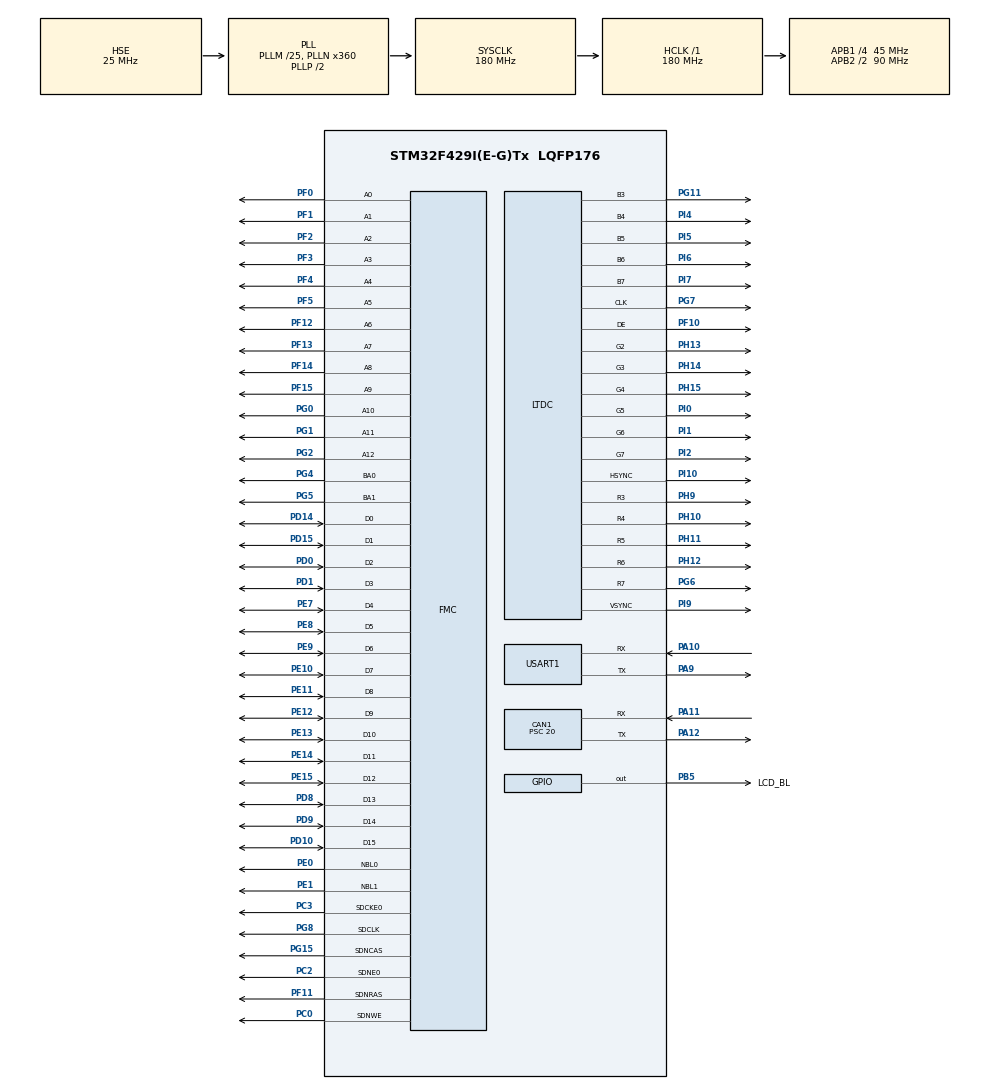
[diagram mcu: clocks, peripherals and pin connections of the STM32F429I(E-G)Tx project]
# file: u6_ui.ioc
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ADC1.Channel-3\#ChannelRegularConversion=ADC_CHANNEL_TEMPSENSOR
ADC1.ContinuousConvMode=ENABLE
ADC1.NbrOfConversionFlag=1
ADC1.Rank-3\#ChannelRegularConversion=1
ADC1.SamplingTime-3\#ChannelRegularConversion=ADC_SAMPLETIME_144CYCLES
ADC1.master=1
CAN1.BS1=CAN_BS1_4TQ
CAN1.BS2=CAN_BS2_4TQ
CAN1.CalculateBaudRate=250000
CAN1.CalculateTimeBit=4000
CAN1.CalculateTimeQuantum=444.44444444444446
CAN1.Prescaler=20
CAN1.TXFP=ENABLE
DMA2D.ColorMode=DMA2D_OUTPUT_RGB565
Dma.ADC1.0.Direction=DMA_PERIPH_TO_MEMORY
Dma.ADC1.0.FIFOMode=DMA_FIFOMODE_DISABLE
Dma.ADC1.0.Instance=DMA2_Stream0
Dma.ADC1.0.MemDataAlignment=DMA_MDATAALIGN_WORD
Dma.ADC1.0.MemInc=DMA_MINC_ENABLE
Dma.ADC1.0.Mode=DMA_NORMAL
Dma.ADC1.0.PeriphDataAlignment=DMA_PDATAALIGN_WORD
Dma.ADC1.0.PeriphInc=DMA_PINC_DISABLE
Dma.ADC1.0.Priority=DMA_PRIORITY_LOW
Dma.Request0=ADC1
FMC.CASLatency1=FMC_SDRAM_CAS_LATENCY_3
FMC.ColumnBitsNumber1=FMC_SDRAM_COLUMN_BITS_NUM_9
FMC.ExitSelfRefreshDelay1=8
FMC.LoadToActiveDelay1=2
FMC.RCDDelay1=2
FMC.RPDelay1=2
FMC.RPDelay2=2
FMC.ReadBurst1=FMC_SDRAM_RBURST_ENABLE
FMC.ReadBurst2=FMC_SDRAM_RBURST_ENABLE
FMC.ReadPipeDelay1=FMC_SDRAM_RPIPE_DELAY_1
FMC.ReadPipeDelay2=FMC_SDRAM_RPIPE_DELAY_1
FMC.RowCycleDelay1=6
FMC.RowCycleDelay2=6
FMC.SDClockPeriod1=FMC_SDRAM_CLOCK_PERIOD_2
FMC.SDClockPeriod2=FMC_SDRAM_CLOCK_PERIOD_2
FMC.SelfRefreshTime1=6
FMC.WriteRecoveryTime1=4
FREERTOS.BinarySemaphores01=CanBinarySem,Static,CanBinarySemControlBlock
FREERTOS.Events01=CAN_DatEvent,Dynamic,NULL;Can_TxEvent,Dynamic,NULL
FREERTOS.Tasks01=touchGFX,24,2048,TouchGFX_Task,As weak,NULL,Dynamic,NULL,NULL;Can_Rx_Task,24,256,Can_Rx_Handle,Default,NULL,Static,Can_Rx_TaskBuffer,Can_Rx_TaskControlBlock;Atemperature,8,256,temAdc_Handle,Default,NULL,Dynamic,NULL,NULL;IWDG_Task,40,128,IWDG_Handle,Default,NULL,Dynamic,NULL,NULL;Speed_Task,10,128,Speed_Handle,Default,NULL,Dynamic,NULL,NULL;Wit_task,11,128,Wit_DatHandle,Default,NULL,Dynamic,NULL,NULL;ADC1_Task,13,128,ADC1_Handle,Default,NULL,Dynamic,NULL,NULL;ADC2_Task,9,128,ADC2_Handle,Default,NULL,Dynamic,NULL,NULL;RTC_Task,8,128,RTC_Handle,Default,NULL,Dynamic,NULL,NULL;DTU_Task,8,128,Dtu_datHandle,Default,NULL,Dynamic,NULL,NULL;Cantx_Task,8,128,CanTX_Handle,Default,NULL,Dynamic,NULL,NULL;TyrespTask,12,128,Tyresp_Handle,Default,NULL,Dynamic,NULL,NULL;BspInitTask,40,128,BspInit_Handle,Default,NULL,Dynamic,NULL,NULL
FREERTOS.configTOTAL_HEAP_SIZE=32768
IWDG.Prescaler=IWDG_PRESCALER_32
IWDG.Reload=4000
LTDC.ActiveH=600
LTDC.ActiveW=1024
LTDC.Alpha_L0=255
LTDC.FBStartAdress_L0=0xc0000000
LTDC.HBP=140
LTDC.HFP=160
LTDC.HSync=20
LTDC.ImageHeight_L0=600
LTDC.ImageWidth_L0=1024
LTDC.Layers=0
LTDC.PixelFormat_L0=LTDC_PIXEL_FORMAT_RGB565
LTDC.VBP=20
LTDC.VFP=12
LTDC.VSync=3
LTDC.WindowX1_L0=1024
LTDC.WindowY1_L0=600
Mcu.Family=STM32F4
Mcu.Name=STM32F429I(E-G)Tx
Mcu.Package=LQFP176
NVIC.CAN1_RX0_IRQn=true\:5\:0\:false\:false\:true\:true\:true\:true\:true
NVIC.CAN1_TX_IRQn=true\:5\:0\:true\:false\:true\:true\:true\:true\:true
NVIC.DMA2D_IRQn=true\:9\:0\:true\:false\:true\:true\:true\:true\:true
NVIC.DMA2_Stream0_IRQn=true\:5\:0\:false\:false\:true\:true\:false\:true\:true
NVIC.LTDC_IRQn=true\:9\:0\:true\:false\:true\:true\:true\:true\:true
NVIC.PriorityGroup=NVIC_PRIORITYGROUP_4
NVIC.TIM7_IRQn=true\:15\:0\:false\:false\:true\:false\:false\:true\:true
NVIC.TimeBase=TIM7_IRQn
NVIC.TimeBaseIP=TIM7
PA10.Mode=Asynchronous
PA10.Signal=USART1_RX
PA11.Mode=CAN_Activate
PA11.Signal=CAN1_RX
PA12.Mode=CAN_Activate
PA12.Signal=CAN1_TX
PA13.Mode=Serial_Wire
PA13.Signal=SYS_JTMS-SWDIO
PA14.Mode=Serial_Wire
PA14.Signal=SYS_JTCK-SWCLK
PA9.Mode=Asynchronous
PA9.Signal=USART1_TX
PB5.GPIO_Label=LCD_BL
PB5.GPIO_Speed=GPIO_SPEED_FREQ_HIGH
PB5.Signal=GPIO_Output
PC0.Signal=FMC_SDNWE
PC14/OSC32_IN.Mode=LSE-External-Oscillator
PC14/OSC32_IN.Signal=RCC_OSC32_IN
PC15/OSC32_OUT.Mode=LSE-External-Oscillator
PC15/OSC32_OUT.Signal=RCC_OSC32_OUT
PC2.Mode=SdramChipSelect1_1
PC2.Signal=FMC_SDNE0
PC3.Mode=SdramChipSelect1_1
PC3.Signal=FMC_SDCKE0
PD0.Signal=FMC_D2_DA2
PD1.Signal=FMC_D3_DA3
PD10.Signal=FMC_D15_DA15
PD14.Signal=FMC_D0_DA0
PD15.Signal=FMC_D1_DA1
PD8.Signal=FMC_D13_DA13
PD9.Signal=FMC_D14_DA14
PE0.Signal=FMC_NBL0
PE1.Signal=FMC_NBL1
PE10.Signal=FMC_D7_DA7
PE11.Signal=FMC_D8_DA8
PE12.Signal=FMC_D9_DA9
PE13.Signal=FMC_D10_DA10
PE14.Signal=FMC_D11_DA11
PE15.Signal=FMC_D12_DA12
PE7.Signal=FMC_D4_DA4
PE8.Signal=FMC_D5_DA5
PE9.Signal=FMC_D6_DA6
PF0.Signal=FMC_A0
PF1.Signal=FMC_A1
PF10.GPIO_Speed=GPIO_SPEED_FREQ_VERY_HIGH
PF10.Mode=RGB565
PF10.Signal=LTDC_DE
PF11.Signal=FMC_SDNRAS
PF12.Signal=FMC_A6
PF13.Signal=FMC_A7
PF14.Signal=FMC_A8
PF15.Signal=FMC_A9
PF2.Signal=FMC_A2
PF3.Signal=FMC_A3
PF4.Signal=FMC_A4
PF5.Signal=FMC_A5
PG0.Signal=FMC_A10
PG1.Signal=FMC_A11
PG11.GPIO_Speed=GPIO_SPEED_FREQ_VERY_HIGH
PG11.Mode=RGB565
PG11.Signal=LTDC_B3
PG15.Signal=FMC_SDNCAS
PG2.Signal=FMC_A12
PG4.Signal=FMC_A14_BA0
PG5.Signal=FMC_A15_BA1
PG6.GPIO_Speed=GPIO_SPEED_FREQ_VERY_HIGH
PG6.Mode=RGB565
PG6.Signal=LTDC_R7
PG7.GPIO_Speed=GPIO_SPEED_FREQ_VERY_HIGH
PG7.Mode=RGB565
PG7.Signal=LTDC_CLK
PG8.Signal=FMC_SDCLK
PH0/OSC_IN.Mode=HSE-External-Oscillator
PH0/OSC_IN.Signal=RCC_OSC_IN
PH1/OSC_OUT.Mode=HSE-External-Oscillator
PH1/OSC_OUT.Signal=RCC_OSC_OUT
PH10.GPIO_Speed=GPIO_SPEED_FREQ_VERY_HIGH
PH10.Mode=RGB565
PH10.Signal=LTDC_R4
PH11.GPIO_Speed=GPIO_SPEED_FREQ_VERY_HIGH
PH11.Mode=RGB565
PH11.Signal=LTDC_R5
PH12.GPIO_Speed=GPIO_SPEED_FREQ_VERY_HIGH
PH12.Mode=RGB565
PH12.Signal=LTDC_R6
PH13.GPIO_Speed=GPIO_SPEED_FREQ_VERY_HIGH
PH13.Mode=RGB565
PH13.Signal=LTDC_G2
PH14.GPIO_Speed=GPIO_SPEED_FREQ_VERY_HIGH
PH14.Mode=RGB565
PH14.Signal=LTDC_G3
PH15.GPIO_Speed=GPIO_SPEED_FREQ_VERY_HIGH
PH15.Mode=RGB565
PH15.Signal=LTDC_G4
PH9.GPIO_Speed=GPIO_SPEED_FREQ_VERY_HIGH
PH9.Mode=RGB565
PH9.Signal=LTDC_R3
PI0.GPIO_Speed=GPIO_SPEED_FREQ_VERY_HIGH
PI0.Mode=RGB565
PI0.Signal=LTDC_G5
PI1.GPIO_Speed=GPIO_SPEED_FREQ_VERY_HIGH
PI1.Mode=RGB565
PI1.Signal=LTDC_G6
PI10.GPIO_Speed=GPIO_SPEED_FREQ_VERY_HIGH
PI10.Mode=RGB565
PI10.Signal=LTDC_HSYNC
PI2.GPIO_Speed=GPIO_SPEED_FREQ_VERY_HIGH
PI2.Mode=RGB565
PI2.Signal=LTDC_G7
PI4.GPIO_Speed=GPIO_SPEED_FREQ_VERY_HIGH
PI4.Mode=RGB565
PI4.Signal=LTDC_B4
PI5.GPIO_Speed=GPIO_SPEED_FREQ_VERY_HIGH
PI5.Mode=RGB565
PI5.Signal=LTDC_B5
PI6.GPIO_Speed=GPIO_SPEED_FREQ_VERY_HIGH
PI6.Mode=RGB565
PI6.Signal=LTDC_B6
PI7.GPIO_Speed=GPIO_SPEED_FREQ_VERY_HIGH
PI7.Mode=RGB565
PI7.Signal=LTDC_B7
PI9.GPIO_Speed=GPIO_SPEED_FREQ_VERY_HIGH
PI9.Mode=RGB565
PI9.Signal=LTDC_VSYNC
ProjectManager.HeapSize=0x800
ProjectManager.StackSize=0x800
ProjectManager.TargetToolchain=MDK-ARM V5
RCC.48MHZClocksFreq_Value=90000000
RCC.AHBFreq_Value=180000000
RCC.APB1CLKDivider=RCC_HCLK_DIV4
RCC.APB1Freq_Value=45000000
RCC.APB1TimFreq_Value=90000000
RCC.APB2CLKDivider=RCC_HCLK_DIV2
RCC.APB2Freq_Value=90000000
RCC.APB2TimFreq_Value=180000000
RCC.CortexFreq_Value=180000000
RCC.HCLKFreq_Value=180000000
RCC.HSE_VALUE=25000000
RCC.HSI_VALUE=16000000
RCC.PLLM=25
RCC.PLLN=360
RCC.PLLSAIN=168
RCC.PLLSourceVirtual=RCC_PLLSOURCE_HSE
RCC.RCC_RTC_Clock_Source=RCC_RTCCLKSOURCE_LSE
RCC.RCC_RTC_Clock_SourceVirtual=RCC_RTCCLKSOURCE_HSE_DIV25
RCC.RCC_RTC_Clock_Source_FROM_HSE=RCC_RTCCLKSOURCE_HSE_DIV25
RCC.SYSCLKFreq_VALUE=180000000
RCC.SYSCLKSource=RCC_SYSCLKSOURCE_PLLCLK
RCC.VCOOutputFreq_Value=360000000
RTC.Alarm=RTC_ALARM_A
RTC.AlarmMaskDateWeekDay=RTC_ALARMMASK_DATEWEEKDAY
RTC.AlarmMaskHours=RTC_ALARMMASK_HOURS
RTC.AlarmMaskMinutes=RTC_ALARMMASK_MINUTES
RTC.AlarmMaskSeconds=RTC_ALARMMASK_SECONDS
RTC.AsynchPrediv=127
RTC.Hours=23
RTC.Minutes=59
RTC.Month=RTC_MONTH_APRIL
RTC.SynchPrediv=255
RTC.WeekDay=RTC_WEEKDAY_SATURDAY
RTC.Year=23
SH.FMC_A0.0=FMC_A0,13b-sda1
SH.FMC_A1.0=FMC_A1,13b-sda1
SH.FMC_A10.0=FMC_A10,13b-sda1
SH.FMC_A11.0=FMC_A11,13b-sda1
SH.FMC_A12.0=FMC_A12,13b-sda1
SH.FMC_A14_BA0.0=FMC_BA0,FourSdramBanks1
SH.FMC_A15_BA1.0=FMC_BA1,FourSdramBanks1
SH.FMC_A2.0=FMC_A2,13b-sda1
SH.FMC_A3.0=FMC_A3,13b-sda1
SH.FMC_A4.0=FMC_A4,13b-sda1
SH.FMC_A5.0=FMC_A5,13b-sda1
SH.FMC_A6.0=FMC_A6,13b-sda1
SH.FMC_A7.0=FMC_A7,13b-sda1
SH.FMC_A8.0=FMC_A8,13b-sda1
SH.FMC_A9.0=FMC_A9,13b-sda1
SH.FMC_D0_DA0.0=FMC_D0,sd-16b-d1
SH.FMC_D10_DA10.0=FMC_D10,sd-16b-d1
SH.FMC_D11_DA11.0=FMC_D11,sd-16b-d1
SH.FMC_D12_DA12.0=FMC_D12,sd-16b-d1
SH.FMC_D13_DA13.0=FMC_D13,sd-16b-d1
SH.FMC_D14_DA14.0=FMC_D14,sd-16b-d1
SH.FMC_D15_DA15.0=FMC_D15,sd-16b-d1
SH.FMC_D1_DA1.0=FMC_D1,sd-16b-d1
SH.FMC_D2_DA2.0=FMC_D2,sd-16b-d1
SH.FMC_D3_DA3.0=FMC_D3,sd-16b-d1
SH.FMC_D4_DA4.0=FMC_D4,sd-16b-d1
SH.FMC_D5_DA5.0=FMC_D5,sd-16b-d1
SH.FMC_D6_DA6.0=FMC_D6,sd-16b-d1
SH.FMC_D7_DA7.0=FMC_D7,sd-16b-d1
SH.FMC_D8_DA8.0=FMC_D8,sd-16b-d1
SH.FMC_D9_DA9.0=FMC_D9,sd-16b-d1
SH.FMC_NBL0.0=FMC_NBL0,Sd2ByteEnable1
SH.FMC_NBL1.0=FMC_NBL1,Sd2ByteEnable1
SH.FMC_SDCLK.0=FMC_SDCLK,13b-sda1
SH.FMC_SDNCAS.0=FMC_SDNCAS,13b-sda1
SH.FMC_SDNRAS.0=FMC_SDNRAS,13b-sda1
SH.FMC_SDNWE.0=FMC_SDNWE,13b-sda1
STMicroelectronics.X-CUBE-TOUCHGFX.4.22.0.ApplicationCcGraphicsJjApplication=TouchGFXOoGenerator
STMicroelectronics.X-CUBE-TOUCHGFX.4.22.0.tgfx_address1=0xc0000000
STMicroelectronics.X-CUBE-TOUCHGFX.4.22.0.tgfx_address2=0xc012c000
STMicroelectronics.X-CUBE-TOUCHGFX.4.22.0.tgfx_buffering_strategy=Double
STMicroelectronics.X-CUBE-TOUCHGFX.4.22.0.tgfx_display_interface=disp_ltdc
STMicroelectronics.X-CUBE-TOUCHGFX.4.22.0.tgfx_hardware_accelerator=dma_2d
STMicroelectronics.X-CUBE-TOUCHGFX.4.22.0.tgfx_location=By Address
STMicroelectronics.X-CUBE-TOUCHGFX.4.22.0.tgfx_vsync=vsync_ltdc
STMicroelectronics.X-CUBE-TOUCHGFX.4.22.0_IsPackSelfContextualization=true
USART1.VirtualMode=VM_ASYNC
VP_ADC1_TempSens_Input.Mode=IN-TempSens
VP_CRC_VS_CRC.Mode=CRC_Activate
VP_DMA2D_VS_DMA2D.Mode=DMA2D_Activate
VP_FREERTOS_VS_CMSIS_V2.Mode=CMSIS_V2
VP_IWDG_VS_IWDG.Mode=IWDG_Activate
VP_RTC_VS_RTC_Activate.Mode=RTC_Enabled
VP_RTC_VS_RTC_Alarm_A_Intern.Mode=Alarm A
VP_RTC_VS_RTC_Calendar.Mode=RTC_Calendar
VP_STMicroelectronics.X-CUBE-TOUCHGFX_VS_GraphicsJjApplication_4.22.0.Mode=GraphicsJjApplication
VP_SYS_VS_tim7.Mode=TIM7
board=custom

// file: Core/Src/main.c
/* USER CODE BEGIN Header */
/**
  ******************************************************************************
  * @file           : main.c
  * @brief          : Main program body
  ******************************************************************************
  * @attention
  *
  * Copyright (c) 2023 STMicroelectronics.
  * All rights reserved.
  *
  * This software is licensed under terms that can be found in the LICENSE file
  * in the root directory of this software component.
  * If no LICENSE file comes with this software, it is provided AS-IS.
  *
  ******************************************************************************
  */
/* USER CODE END Header */
#include "main.h"
#include "cmsis_os.h"
#include "adc.h"
#include "can.h"
#include "crc.h"
#include "dma.h"
#include "dma2d.h"
#include "iwdg.h"
#include "ltdc.h"
#include "rtc.h"
#include "usart.h"
#include "gpio.h"
#include "fmc.h"
#include "app_touchgfx.h"

void SystemClock_Config(void);
void MX_FREERTOS_Init(void);

int main(void)
{

  /* MCU Configuration--------------------------------------------------------*/

  /* Reset of all peripherals, Initializes the Flash interface and the Systick. */
  HAL_Init();

  /* Configure the system clock */
  SystemClock_Config();

  /* Initialize all configured peripherals */
  MX_GPIO_Init();
  MX_DMA_Init();
  MX_DMA2D_Init();
  MX_FMC_Init();
  MX_CRC_Init();
  MX_LTDC_Init();
  MX_CAN1_Init();
  MX_USART1_UART_Init();
  MX_ADC1_Init();
  MX_RTC_Init();
  MX_IWDG_Init();
  MX_TouchGFX_Init();
  /* Call PreOsInit function */
  MX_TouchGFX_PreOSInit();
  /* USER CODE BEGIN 2 */
  printf("fwt_ui\r\n");
  /* USER CODE END 2 */

  /* Init scheduler */
  osKernelInitialize();  /* Call init function for freertos objects (in freertos.c) */
  MX_FREERTOS_Init();

  /* Start scheduler */
  osKernelStart();
  /* We should never get here as control is now taken by the scheduler */
  /* Infinite loop */
  while (1)
  {

  }
}

void SystemClock_Config(void)
{
  RCC_OscInitTypeDef RCC_OscInitStruct = {0};
  RCC_ClkInitTypeDef RCC_ClkInitStruct = {0};

  /** Configure the main internal regulator output voltage
  */
  __HAL_RCC_PWR_CLK_ENABLE();
  __HAL_PWR_VOLTAGESCALING_CONFIG(PWR_REGULATOR_VOLTAGE_SCALE1);

  /** Initializes the RCC Oscillators according to the specified parameters
  * in the RCC_OscInitTypeDef structure.
  */
  RCC_OscInitStruct.OscillatorType = RCC_OSCILLATORTYPE_LSI|RCC_OSCILLATORTYPE_HSE
                              |RCC_OSCILLATORTYPE_LSE;
  RCC_OscInitStruct.HSEState = RCC_HSE_ON;
  RCC_OscInitStruct.LSEState = RCC_LSE_ON;
  RCC_OscInitStruct.LSIState = RCC_LSI_ON;
  RCC_OscInitStruct.PLL.PLLState = RCC_PLL_ON;
  RCC_OscInitStruct.PLL.PLLSource = RCC_PLLSOURCE_HSE;
  RCC_OscInitStruct.PLL.PLLM = 25;
  RCC_OscInitStruct.PLL.PLLN = 360;
  RCC_OscInitStruct.PLL.PLLP = RCC_PLLP_DIV2;
  RCC_OscInitStruct.PLL.PLLQ = 4;
  if (HAL_RCC_OscConfig(&RCC_OscInitStruct) != HAL_OK)
  {
    Error_Handler();
  }

  /** Activate the Over-Drive mode
  */
  if (HAL_PWREx_EnableOverDrive() != HAL_OK)
  {
    Error_Handler();
  }

  /** Initializes the CPU, AHB and APB buses clocks
  */
  RCC_ClkInitStruct.ClockType = RCC_CLOCKTYPE_HCLK|RCC_CLOCKTYPE_SYSCLK
                              |RCC_CLOCKTYPE_PCLK1|RCC_CLOCKTYPE_PCLK2;
  RCC_ClkInitStruct.SYSCLKSource = RCC_SYSCLKSOURCE_PLLCLK;
  RCC_ClkInitStruct.AHBCLKDivider = RCC_SYSCLK_DIV1;
  RCC_ClkInitStruct.APB1CLKDivider = RCC_HCLK_DIV4;
  RCC_ClkInitStruct.APB2CLKDivider = RCC_HCLK_DIV2;

  if (HAL_RCC_ClockConfig(&RCC_ClkInitStruct, FLASH_LATENCY_5) != HAL_OK)
  {
    Error_Handler();
  }
}

void HAL_TIM_PeriodElapsedCallback(TIM_HandleTypeDef *htim)
{
  if (htim->Instance == TIM7) {
    HAL_IncTick();
  }
}

void Error_Handler(void)
{
  __disable_irq();
  while (1)
  {
  }
}

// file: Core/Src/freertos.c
/* USER CODE BEGIN Header */
/**
  ******************************************************************************
  * File Name          : freertos.c
  * Description        : Code for freertos applications
  ******************************************************************************
  * @attention
  *
  * Copyright (c) 2023 STMicroelectronics.
  * All rights reserved.
  *
  * This software is licensed under terms that can be found in the LICENSE file
  * in the root directory of this software component.
  * If no LICENSE file comes with this software, it is provided AS-IS.
  *
  ******************************************************************************
  */
/* USER CODE END Header */

#include "FreeRTOS.h"
#include "task.h"
#include "main.h"
#include "cmsis_os.h"

/* USER CODE BEGIN Includes */
#include "usart.h"
/* USER CODE END Includes */

typedef StaticTask_t osStaticThreadDef_t;
typedef StaticSemaphore_t osStaticSemaphoreDef_t;

/* USER CODE BEGIN PD */
#define XJWY_StdId							0x01
#define GPS_StdId								0x02
#define DTU_StdId								0x04       //0x03,0x04     csq
#define CLK_StdId								0x03       //0x03,0x04     clk
#define Tyre_StdId              0x08
#define CLK_StdId2						  0x13       //0x03,0x04     clk
#define OADC_StdId              0x05
#define Wit_StdId   						0x51      //0x51,0x52,0x53   angle acc

#define XJWY_DLC								7
#define GPS_DLC									4
#define CLK_DLC									6
#define Wit_DLC									8
#define Tyre_DLC								8
#define Oadc_DLC								2

#define CAN_EVENTBIT_0	(1<<0)				//
#define CAN_EVENTBIT_1	(1<<1)				//
#define CAN_EVENTBIT_2	(1<<2)
#define CAN_EVENTBIT_3	(1<<3)
#define CAN_EVENTBIT_4	(1<<4)
#define CAN_EVENTBIT_5	(1<<5)

#define CANTX_EVENTBIT_0	(1<<0)
#define CANTX_EVENTBIT_1	(1<<1)
#define CANTX_EVENTBIT_2	(1<<2)
#define CANTX_EVENTBIT_3	(1<<3)
#define CANTX_EVENTBIT_4	(1<<4)

/* USER CODE END PD */

/* USER CODE BEGIN PM */
extern IWDG_HandleTypeDef hiwdg;
extern ADC_HandleTypeDef hadc1;
extern CAN_HandleTypeDef hcan1;
extern __IO uint8_t temADC1_Flag;
extern uint32_t adc_value[10];
extern RTC_HandleTypeDef hrtc;
CAN_RxHeaderTypeDef RxMessage;
CAN_TxHeaderTypeDef TxMessage;
uint8_t canrx_dat[8] = {0};

uint8_t CpuTpQueue_prio = 5;

typedef union
{
	float value;
	uint8_t data[4];
}speed_float;

typedef union
{
	float value;
	uint8_t data[4];
}Anglefloat;

typedef union
{
	float value;
	uint8_t data[4];
}Accfloat;

typedef struct{
	uint8_t dtu_flag;
	uint8_t xjwy_data[XJWY_DLC];
	uint8_t tyre_data[Tyre_DLC];
	uint8_t dtu_tdata[CLK_DLC];
	uint8_t dtu_cdata;
	uint8_t oadc_dat[Oadc_DLC];
	Anglefloat Ag_data[3];
	Accfloat   Acc_data[3];
	speed_float gps_data;
}can_rxdata;

uint8_t rtc_sure = 0;

can_rxdata Can_rxdata1 = {0,{0},0,{0},0,{0},{0}};
/* USER CODE END PM */

/* USER CODE BEGIN Variables */

void TpNum(uint8_t tpdat);
void GpsNum(double gpsdat);
void WitNum(float *witdat1,float *witdat2);
void CanNum(uint8_t canflag);
void ADC1_Num(uint8_t *adc1dat);
void ADC2_Num(uint8_t *adc2dat);
void RtcNum(uint8_t rtcyear,uint8_t rtcmonth,uint8_t rtcdate,uint8_t rtchour,uint8_t rtcminute);
void DTU_C_Num(uint8_t csqdat);
void Can_Send_Msg(uint32_t ucStdId, uint8_t* msg, uint32_t len);
void Tyre_Num(uint8_t *tyre_dat);
void Updattim(void);

/* USER CODE END Variables */
/* Definitions for touchGFX */
osThreadId_t touchGFXHandle;
const osThreadAttr_t touchGFX_attributes = {
  .name = "touchGFX",
  .stack_size = 2048 * 4,
  .priority = (osPriority_t) osPriorityNormal,
};
/* Definitions for Can_Rx_Task */
osThreadId_t Can_Rx_TaskHandle;
uint32_t Can_Rx_TaskBuffer[ 256 ];
osStaticThreadDef_t Can_Rx_TaskControlBlock;
const osThreadAttr_t Can_Rx_Task_attributes = {
  .name = "Can_Rx_Task",
  .cb_mem = &Can_Rx_TaskControlBlock,
  .cb_size = sizeof(Can_Rx_TaskControlBlock),
  .stack_mem = &Can_Rx_TaskBuffer[0],
  .stack_size = sizeof(Can_Rx_TaskBuffer),
  .priority = (osPriority_t) osPriorityNormal,
};
/* Definitions for Atemperature */
osThreadId_t AtemperatureHandle;
const osThreadAttr_t Atemperature_attributes = {
  .name = "Atemperature",
  .stack_size = 256 * 4,
  .priority = (osPriority_t) osPriorityLow,
};
/* Definitions for IWDG_Task */
osThreadId_t IWDG_TaskHandle;
const osThreadAttr_t IWDG_Task_attributes = {
  .name = "IWDG_Task",
  .stack_size = 128 * 4,
  .priority = (osPriority_t) osPriorityHigh,
};
/* Definitions for Speed_Task */
osThreadId_t Speed_TaskHandle;
const osThreadAttr_t Speed_Task_attributes = {
  .name = "Speed_Task",
  .stack_size = 128 * 4,
  .priority = (osPriority_t) osPriorityLow2,
};
/* Definitions for Wit_task */
osThreadId_t Wit_taskHandle;
const osThreadAttr_t Wit_task_attributes = {
  .name = "Wit_task",
  .stack_size = 128 * 4,
  .priority = (osPriority_t) osPriorityLow3,
};
/* Definitions for ADC1_Task */
osThreadId_t ADC1_TaskHandle;
const osThreadAttr_t ADC1_Task_attributes = {
  .name = "ADC1_Task",
  .stack_size = 128 * 4,
  .priority = (osPriority_t) osPriorityLow5,
};
/* Definitions for ADC2_Task */
osThreadId_t ADC2_TaskHandle;
const osThreadAttr_t ADC2_Task_attributes = {
  .name = "ADC2_Task",
  .stack_size = 128 * 4,
  .priority = (osPriority_t) osPriorityLow1,
};
/* Definitions for RTC_Task */
osThreadId_t RTC_TaskHandle;
const osThreadAttr_t RTC_Task_attributes = {
  .name = "RTC_Task",
  .stack_size = 128 * 4,
  .priority = (osPriority_t) osPriorityLow,
};
/* Definitions for DTU_Task */
osThreadId_t DTU_TaskHandle;
const osThreadAttr_t DTU_Task_attributes = {
  .name = "DTU_Task",
  .stack_size = 128 * 4,
  .priority = (osPriority_t) osPriorityLow,
};
/* Definitions for Cantx_Task */
osThreadId_t Cantx_TaskHandle;
const osThreadAttr_t Cantx_Task_attributes = {
  .name = "Cantx_Task",
  .stack_size = 128 * 4,
  .priority = (osPriority_t) osPriorityLow,
};
/* Definitions for TyrespTask */
osThreadId_t TyrespTaskHandle;
const osThreadAttr_t TyrespTask_attributes = {
  .name = "TyrespTask",
  .stack_size = 128 * 4,
  .priority = (osPriority_t) osPriorityLow4,
};
/* Definitions for BspInitTask */
osThreadId_t BspInitTaskHandle;
const osThreadAttr_t BspInitTask_attributes = {
  .name = "BspInitTask",
  .stack_size = 128 * 4,
  .priority = (osPriority_t) osPriorityHigh,
};
/* Definitions for CanBinarySem */
osSemaphoreId_t CanBinarySemHandle;
osStaticSemaphoreDef_t CanBinarySemControlBlock;
const osSemaphoreAttr_t CanBinarySem_attributes = {
  .name = "CanBinarySem",
  .cb_mem = &CanBinarySemControlBlock,
  .cb_size = sizeof(CanBinarySemControlBlock),
};
/* Definitions for CAN_DatEvent */
osEventFlagsId_t CAN_DatEventHandle;
const osEventFlagsAttr_t CAN_DatEvent_attributes = {
  .name = "CAN_DatEvent"
};
/* Definitions for Can_TxEvent */
osEventFlagsId_t Can_TxEventHandle;
const osEventFlagsAttr_t Can_TxEvent_attributes = {
  .name = "Can_TxEvent"
};

void TouchGFX_Task(void *argument);
void Can_Rx_Handle(void *argument);
void temAdc_Handle(void *argument);
void IWDG_Handle(void *argument);
void Speed_Handle(void *argument);
void Wit_DatHandle(void *argument);
void ADC1_Handle(void *argument);
void ADC2_Handle(void *argument);
void RTC_Handle(void *argument);
void Dtu_datHandle(void *argument);
void CanTX_Handle(void *argument);
void Tyresp_Handle(void *argument);
void BspInit_Handle(void *argument);

void MX_FREERTOS_Init(void); /* (MISRA C 2004 rule 8.1) */

void MX_FREERTOS_Init(void) {

  /* Create the semaphores(s) */
  /* creation of CanBinarySem */
  CanBinarySemHandle = osSemaphoreNew(1, 1, &CanBinarySem_attributes);

  /* Create the thread(s) */
  /* creation of touchGFX */
  touchGFXHandle = osThreadNew(TouchGFX_Task, NULL, &touchGFX_attributes);

  /* creation of Can_Rx_Task */
  Can_Rx_TaskHandle = osThreadNew(Can_Rx_Handle, NULL, &Can_Rx_Task_attributes);

  /* creation of Atemperature */
  AtemperatureHandle = osThreadNew(temAdc_Handle, NULL, &Atemperature_attributes);

  /* creation of IWDG_Task */
  IWDG_TaskHandle = osThreadNew(IWDG_Handle, NULL, &IWDG_Task_attributes);

  /* creation of Speed_Task */
  Speed_TaskHandle = osThreadNew(Speed_Handle, NULL, &Speed_Task_attributes);

  /* creation of Wit_task */
  Wit_taskHandle = osThreadNew(Wit_DatHandle, NULL, &Wit_task_attributes);

  /* creation of ADC1_Task */
  ADC1_TaskHandle = osThreadNew(ADC1_Handle, NULL, &ADC1_Task_attributes);

  /* creation of ADC2_Task */
  ADC2_TaskHandle = osThreadNew(ADC2_Handle, NULL, &ADC2_Task_attributes);

  /* creation of RTC_Task */
  RTC_TaskHandle = osThreadNew(RTC_Handle, NULL, &RTC_Task_attributes);

  /* creation of DTU_Task */
  DTU_TaskHandle = osThreadNew(Dtu_datHandle, NULL, &DTU_Task_attributes);

  /* creation of Cantx_Task */
  Cantx_TaskHandle = osThreadNew(CanTX_Handle, NULL, &Cantx_Task_attributes);

  /* creation of TyrespTask */
  TyrespTaskHandle = osThreadNew(Tyresp_Handle, NULL, &TyrespTask_attributes);

  /* creation of BspInitTask */
  BspInitTaskHandle = osThreadNew(BspInit_Handle, NULL, &BspInitTask_attributes);

  /* Create the event(s) */
  /* creation of CAN_DatEvent */
  CAN_DatEventHandle = osEventFlagsNew(&CAN_DatEvent_attributes);

  /* creation of Can_TxEvent */
  Can_TxEventHandle = osEventFlagsNew(&Can_TxEvent_attributes);

}

__weak void TouchGFX_Task(void *argument)
{
  /* USER CODE BEGIN TouchGFX_Task */
  /* Infinite loop */
  for(;;)
  {
    osDelay(100);
  }
  /* USER CODE END TouchGFX_Task */
}

void Can_Rx_Handle(void *argument)
{
  /* USER CODE BEGIN Can_Rx_Handle */
  /* Infinite loop */
	static uint32_t can_tick = 0;
	static uint8_t can_error = 0;
  for(;;)
  {
		osSemaphoreAcquire(CanBinarySemHandle,1600);
		if( uwTick-can_tick > 1500){
			can_error = 0;
		}else{
			can_error = 1;
		}
		CanNum(can_error);
		can_tick = uwTick;
    osDelay(1);
  }
  /* USER CODE END Can_Rx_Handle */
}

void temAdc_Handle(void *argument)
{
  /* USER CODE BEGIN temAdc_Handle */
  /* Infinite loop */
	uint8_t i = 0;
	double temadc_dat = 0;
	uint8_t temperature = 0;

  for(;;)
  {
		if(temADC1_Flag == 1)
		{
			for( i = 1; i<10 ; i++){
				adc_value[0]+=adc_value[i];
			}
			temadc_dat = (double)(adc_value[0]*3.3/40960);
//			printf("ADC : %.2f v\r\n",temadc_dat);
			temperature = (uint8_t)((temadc_dat-0.76)/0.0025)+25;
//			printf("MCU Temperature : %d\r\n",temperature);
			TpNum(temperature);
			temADC1_Flag = 0;
			HAL_ADC_Start_DMA(&hadc1,adc_value,sizeof(adc_value)/4);
		}
    osDelay(1000);
  }
  /* USER CODE END temAdc_Handle */
}

void IWDG_Handle(void *argument)
{
  /* USER CODE BEGIN IWDG_Handle */
  /* Infinite loop */
  for(;;)
  {
		__HAL_IWDG_RELOAD_COUNTER(&hiwdg);
    osDelay(100);
  }
  /* USER CODE END IWDG_Handle */
}

void Speed_Handle(void *argument)
{
  /* USER CODE BEGIN Speed_Handle */
  /* Infinite loop */
  for(;;)
  {
		if(osEventFlagsWait (CAN_DatEventHandle, CAN_EVENTBIT_1,osFlagsWaitAny, osWaitForever)&CAN_EVENTBIT_1){
			GpsNum(Can_rxdata1.gps_data.value);
		}
  }
  /* USER CODE END Speed_Handle */
}

void Wit_DatHandle(void *argument)
{
  /* USER CODE BEGIN Wit_DatHandle */
  /* Infinite loop */
  float ag_xyz[3] = {0},acc_xyz[3] = {0};
  for(;;)
  {
		if(osEventFlagsWait (CAN_DatEventHandle, CAN_EVENTBIT_3,osFlagsWaitAny, osWaitForever)&CAN_EVENTBIT_3){
			ag_xyz[0] = Can_rxdata1.Ag_data[0].value;
			ag_xyz[1] = Can_rxdata1.Ag_data[1].value;
			ag_xyz[2] = Can_rxdata1.Ag_data[2].value;
//			printf("angle:%.3f %.3f %.3f\r\n", ag_xyz[0], ag_xyz[1], ag_xyz[2]);
			acc_xyz[0] = Can_rxdata1.Acc_data[0].value;
			acc_xyz[1] = Can_rxdata1.Acc_data[1].value;
			acc_xyz[2] = Can_rxdata1.Acc_data[2].value;
//			printf("acc:%.3f %.3f %.3f\r\n", acc_xyz[0], acc_xyz[1], acc_xyz[2]);
			WitNum(ag_xyz,acc_xyz);
		}
  }
  /* USER CODE END Wit_DatHandle */
}

void ADC1_Handle(void *argument)
{
  /* USER CODE BEGIN ADC1_Handle */
  /* Infinite loop */
	uint8_t xjwydat[XJWY_DLC] = {0};
  for(;;)
  {
		if(osEventFlagsWait (CAN_DatEventHandle, CAN_EVENTBIT_0,osFlagsWaitAny, osWaitForever)&CAN_EVENTBIT_0){
			for(uint8_t i = 0;i<XJWY_DLC;i++)
			{
				xjwydat[i] = Can_rxdata1.xjwy_data[i];
			}
			ADC1_Num(xjwydat);
		}
    osDelay(10);
  }
  /* USER CODE END ADC1_Handle */
}

void ADC2_Handle(void *argument)
{
  /* USER CODE BEGIN ADC2_Handle */
  /* Infinite loop */
  for(;;)
  {
		if(osEventFlagsWait (CAN_DatEventHandle, CAN_EVENTBIT_4,osFlagsWaitAny, osWaitForever)&CAN_EVENTBIT_4){
		ADC2_Num(Can_rxdata1.oadc_dat);
		}
    osDelay(100);
  }
  /* USER CODE END ADC2_Handle */
}

void RTC_Handle(void *argument)
{
  /* USER CODE BEGIN RTC_Handle */
  /* Infinite loop */
	RTC_TimeTypeDef rtcTime;
  RTC_DateTypeDef GetData;   //获取日期结构
  for(;;)
  {
		HAL_RTC_GetTime(&hrtc,&rtcTime,RTC_FORMAT_BIN);
		HAL_RTC_GetDate(&hrtc,&GetData,RTC_FORMAT_BIN);
		RtcNum(GetData.Year,GetData.Month,GetData.Date,rtcTime.Hours,rtcTime.Minutes);
//		printf("      %02d-%02d-%02d\r\n",rtcTime.Hours,rtcTime.Minutes,rtcTime.Seconds);
    osDelay(500);
  }
  /* USER CODE END RTC_Handle */
}

void Dtu_datHandle(void *argument)
{
  /* USER CODE BEGIN Dtu_datHandle */
  /* Infinite loop */
	RTC_TimeTypeDef SetTime;
	RTC_DateTypeDef SetData;
  for(;;)
  {
		if(osEventFlagsWait (CAN_DatEventHandle, CAN_EVENTBIT_2,osFlagsWaitAny, osWaitForever)&CAN_EVENTBIT_2){
			if(Can_rxdata1.dtu_flag == 1){
				Can_rxdata1.dtu_flag = 2;
				SetData.Year = Can_rxdata1.dtu_tdata[0];
				SetData.Month = Can_rxdata1.dtu_tdata[1];
				SetData.Date = Can_rxdata1.dtu_tdata[2];
				SetTime.Hours = Can_rxdata1.dtu_tdata[3];
				SetTime.Minutes = Can_rxdata1.dtu_tdata[4];
				SetTime.Seconds = Can_rxdata1.dtu_tdata[5];
				HAL_RTC_SetDate(&hrtc,&SetData,RTC_FORMAT_BIN);
				HAL_RTC_SetTime(&hrtc,&SetTime,RTC_FORMAT_BIN);
				HAL_RTC_DST_Add1Hour(&hrtc);
				rtc_sure = 1;
				osEventFlagsSet(Can_TxEventHandle,CANTX_EVENTBIT_0);
				Updattim();
			}else if(Can_rxdata1.dtu_flag == 2){
				DTU_C_Num(Can_rxdata1.dtu_cdata);
			}
		}
  }
  /* USER CODE END Dtu_datHandle */
}

void CanTX_Handle(void *argument)
{
  /* USER CODE BEGIN CanTX_Handle */
  /* Infinite loop */

	uint32_t can_tx_mailbox;
	TxMessage.ExtId=0;
	TxMessage.IDE=CAN_ID_STD;
	TxMessage.RTR=CAN_RTR_DATA;
	TxMessage.TransmitGlobalTime=DISABLE;
	uint8_t canovertime = 0;
  for(;;)
  {
		if(osEventFlagsWait (Can_TxEventHandle,CANTX_EVENTBIT_0,osFlagsWaitAny, NULL)&CANTX_EVENTBIT_0){
			canovertime = 0;
			TxMessage.StdId=CLK_StdId2;
			TxMessage.DLC=sizeof(rtc_sure);
			while(HAL_CAN_GetTxMailboxesFreeLevel(&hcan1) < 1){
				if(canovertime++ >= 5){
					break;
				}
				else{
					osDelay(1);
				}
			}
			if(HAL_CAN_AddTxMessage(&hcan1,&TxMessage,&rtc_sure,&can_tx_mailbox) != HAL_OK)
			{
				printf ("数据发送失败！\r\n");
			}
			osDelay(1);
		}
		osDelay(1);
  }
  /* USER CODE END CanTX_Handle */
}

void Tyresp_Handle(void *argument)
{
  /* USER CODE BEGIN Tyresp_Handle */
  /* Infinite loop */
	uint8_t tyre_dat[8] = {0};
  for(;;)
  {
		if(osEventFlagsWait (CAN_DatEventHandle, CAN_EVENTBIT_5,osFlagsWaitAny, osWaitForever)&CAN_EVENTBIT_5){
			for(uint8_t i = 0;i<Tyre_DLC;i++)
			{
				tyre_dat[i] = Can_rxdata1.tyre_data[i];
			}
			Tyre_Num(tyre_dat);
		}
    osDelay(10);
  }
  /* USER CODE END Tyresp_Handle */
}

void BspInit_Handle(void *argument)
{
  /* USER CODE BEGIN BspInit_Handle */
  /* Infinite loop */
  for(;;)
  {
		HAL_ADC_Start_DMA(&hadc1,adc_value,sizeof(adc_value)/4);
		HAL_CAN_ActivateNotification(&hcan1,CAN_IT_RX_FIFO0_MSG_PENDING|CAN_IT_TX_MAILBOX_EMPTY);
		HAL_CAN_Start(&hcan1);
		vTaskDelete(BspInitTaskHandle);
  }
  /* USER CODE END BspInit_Handle */
}

/* USER CODE BEGIN Application */
void HAL_CAN_RxFifo0MsgPendingCallback(CAN_HandleTypeDef *hcan)
{
	uint8_t i = 0;
	if(hcan->Instance == CAN1)
	{
		RxMessage.StdId=0x00;
		RxMessage.ExtId=0x00;
		RxMessage.IDE=0;
		RxMessage.DLC=0;
		RxMessage.RTR=0;
		RxMessage.Timestamp=0;
		RxMessage.FilterMatchIndex = 0;
//		printf("can_receive!\r\n");
		for(i = 0; i < 8; i++)
		{
			canrx_dat[i]=0x00;
		}
		HAL_CAN_GetRxMessage(&hcan1,CAN_RX_FIFO0,&RxMessage,canrx_dat);
		switch(RxMessage.StdId)
		{
			case(XJWY_StdId):{
				if((RxMessage.IDE==CAN_ID_STD) && (RxMessage.DLC==XJWY_DLC)){
					for(i = 0;i<XJWY_DLC;i++){
						Can_rxdata1.xjwy_data[i] = canrx_dat[i];
					}
//					printf("XJWY!\r\n");
					osEventFlagsSet ( CAN_DatEventHandle, CAN_EVENTBIT_0);
				}
				break;
			}
			case(GPS_StdId):{
				if((RxMessage.IDE==CAN_ID_STD) && (RxMessage.DLC==GPS_DLC)){
					for(i = 0;i<GPS_DLC;i++){
						Can_rxdata1.gps_data.data[i] = canrx_dat[i];
					}
//					printf("GPSspeed = %f!\r\n",Can_rxdata1.gps_data.value);
					osEventFlagsSet ( CAN_DatEventHandle, CAN_EVENTBIT_1);
				}
				break;
			}
			case(CLK_StdId):{
				if((RxMessage.IDE==CAN_ID_STD) && (RxMessage.DLC==CLK_DLC)){
					for(i = 0;i<CLK_DLC;i++){
						Can_rxdata1.dtu_tdata[i] = canrx_dat[i];
//						printf("%d\r\n",Can_rxdata1.dtu_tdata[i]);
					}
					Can_rxdata1.dtu_flag = 1;
					osEventFlagsSet ( CAN_DatEventHandle, CAN_EVENTBIT_2);
				}
				break;
			}
			case(DTU_StdId):{
				if((RxMessage.IDE==CAN_ID_STD) && (RxMessage.DLC==1)){
					Can_rxdata1.dtu_cdata = canrx_dat[0];
					osEventFlagsSet ( CAN_DatEventHandle, CAN_EVENTBIT_2);
//					printf("DTU2!\r\n");
				}
				break;
			}
			case(Wit_StdId):{
				if((RxMessage.IDE==CAN_ID_STD) && (RxMessage.DLC==Wit_DLC)){
					for(i = 0;i<Wit_DLC;i++){
						if(i<4){
							Can_rxdata1.Ag_data[0].data[i] = canrx_dat[i];
						}else{
							Can_rxdata1.Ag_data[1].data[i-4] = canrx_dat[i];
						}
					}
//					printf("Wit1!\r\n");
				}
				break;
			}
			case(Wit_StdId+1):{
				if((RxMessage.IDE==CAN_ID_STD) && (RxMessage.DLC==Wit_DLC)){
					for(i = 0;i<Wit_DLC;i++){
						if(i<4){
							Can_rxdata1.Ag_data[2].data[i] = canrx_dat[i];
						}else{
							Can_rxdata1.Acc_data[0].data[i-4] = canrx_dat[i];
						}
					}
//					printf("Wit2!\r\n");
				}
				break;
			}
			case(Wit_StdId+2):{
				if((RxMessage.IDE==CAN_ID_STD) && (RxMessage.DLC==Wit_DLC)){
					for(i = 0;i<Wit_DLC;i++){
						if(i<4){
							Can_rxdata1.Acc_data[1].data[i] = canrx_dat[i];
						}else{
							Can_rxdata1.Acc_data[2].data[i-4] = canrx_dat[i];
						}
					}
//					printf("Wit3!\r\n");
					osEventFlagsSet ( CAN_DatEventHandle, CAN_EVENTBIT_3);
				}
				break;
			}
			case(OADC_StdId):{
				if((RxMessage.IDE==CAN_ID_STD) && (RxMessage.DLC==Oadc_DLC)){
					for(i = 0;i<Oadc_DLC;i++){
						Can_rxdata1.oadc_dat[i] = canrx_dat[i];
					}
//					printf("OADC!\r\n");
					osEventFlagsSet ( CAN_DatEventHandle, CAN_EVENTBIT_4);
				}
				break;
			}
			case(Tyre_StdId):{
				if((RxMessage.IDE==CAN_ID_STD) && (RxMessage.DLC==Tyre_StdId)){
					for(i = 0;i<Tyre_DLC;i++){
						Can_rxdata1.tyre_data[i] = canrx_dat[i];
					}
//				printf("TYRE!\r\n");
					osEventFlagsSet ( CAN_DatEventHandle, CAN_EVENTBIT_5);
				}
				break;
			}
			default:
				break;
		}
		osSemaphoreRelease(CanBinarySemHandle);
	}
}

/* USER CODE END Application */
